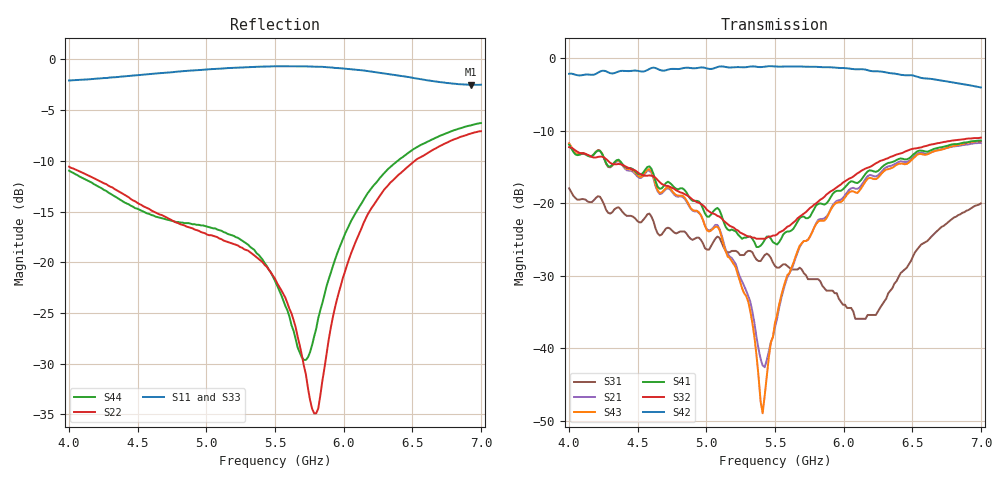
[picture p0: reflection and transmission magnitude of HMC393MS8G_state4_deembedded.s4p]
!Hittite Microwave Corporation
!12 Elizabeth Drive
!Chelmsford, MA 01824
!Tel: 978-250-3343
!Fax: 978-250-3373
!Device: HMC393MS8G, 5-6 GHz GaAs MMIC DPDT Diversity Switch in 8-lead Grounded Base surface Mount Plastic Package
!Misc:  Port 1 = ANT1, Port 2 = ANT2, Port 3 = Tx, Port 4 = Rx, Vctl=+5V, State 4 selected, Room
# MHZ S MA R 50
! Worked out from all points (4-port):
!   201 points, 4 GHz to 7 GHz, reference 50 ohm
!   strongest paths, dB at 4 GHz, 4.75 GHz, 5.5 GHz, 6.25 GHz, 7 GHz:
!     S42: -2.1, -1.5, -1.1, -1.8, -4.0
!     S32: -12.3, -17.9, -24.4, -14.3, -10.9
!     S41: -11.9, -17.5, -25.5, -15.5, -11.3
!     S43: -11.7, -18.3, -36.5, -16.5, -11.4
!     S21: -11.7, -18.4, -37.1, -16.1, -11.7
!     S31: -17.9, -23.7, -28.6, -34.9, -20.0
!   lowest |S11| = -2.5 dB at 6.925 GHz (marker M1), VSWR 7.00, Z = 9 - j25.1 ohm
!   |S11| at or under -10 dB: nowhere
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4000  0.788 -2.6  0.245 0.5  0.132 -20.0  0.24 1.6
      0.259 -4.6  0.296 67.2  0.263 0.8  0.769 54.7
      0.127 -24.3  0.244 0.2  0.79 -1.5  0.244 2.3
      0.254 -3.3  0.782 53.6  0.259 -2.6  0.283 68.1
5095  0.901 -38.6  0.059 -0.8  0.054 8.1  0.079 21.2
      0.067 -4.4  0.131 -6.2  0.085 22.7  0.87 51.9
      0.058 5.6  0.081 24.1  0.895 -40.2  0.058 -3.9
      0.09 17.9  0.878 52.2  0.066 -7.6  0.144 -16.3
5410  0.922 -44.7  0.00781 60.8  0.042 15.1  0.053 66.2
      0.007631 65.4  0.1 -31.6  0.056 65.8  0.878 50.3
      0.042 21.4  0.057 68.5  0.918 -46.9  0.003685 68.7
      0.053 70.3  0.872 50.7  0.003566 77.1  0.103 -24.8
5800  0.921 -54.7  0.072 163.3  0.028 17.4  0.094 115.9
      0.073 164.7  0.018 -143.7  0.095 118.5  0.874 47.4
      0.03 15.7  0.1 115.9  0.918 -57.2  0.071 165.3
      0.097 117.3  0.874 47.5  0.072 166.3  0.047 79.3
6175  0.877 -70.5  0.149 159.3  0.015 -52.1  0.161 124.2
      0.154 160.9  0.172 131.2  0.169 124.8  0.832 43.4
      0.017 -53.1  0.176 123.0  0.871 -73.4  0.142 163.1
      0.166 126.1  0.828 43.0  0.148 164.4  0.219 108.6
6925  0.75 -125.4  0.251 143.8  0.092 -162.4  0.261 117.2
      0.257 144.1  0.431 112.8  0.284 112.3  0.648 39.9
      0.092 -162.0  0.28 112.1  0.742 -128.0  0.258 149.0
      0.267 117.7  0.65 39.9  0.264 149.3  0.473 111.5
7000  0.751 -130.8  0.255 142.7  0.1 -165.9  0.266 116.4
      0.261 142.3  0.443 112.7  0.291 111.0  0.63 39.9
      0.1 -166.0  0.284 111.6  0.74 -133.3  0.263 147.5
      0.271 116.2  0.63 40.2  0.268 147.2  0.486 112.7
